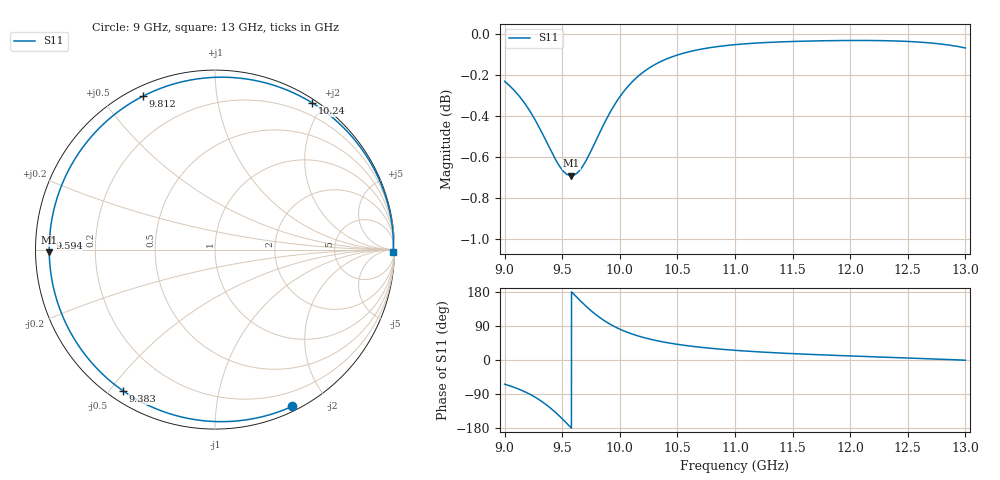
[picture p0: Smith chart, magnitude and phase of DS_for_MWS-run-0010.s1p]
! TOUCHSTONE file generated by CST DESIGN STUDIO
! Date and time: Tue Feb  4 14:23:10 2025
! Project name: C:\Work\MatlabApps\UnitCellOptimizationMatlab\CST\unitcell.cst
! Tree item: Tasks\Sweep1\SPara1\S-Parameters
! Header version: 2024
! Port assignment regex: !\s*Touchstone port\s*([0-9]+)\s*=\s*(CST MWS port|CST DES external port|CST DES block port)\s*(.+)\s* \(\"(.*)\"\)(\s*mode\s*([0-9]+))?.*
! Touchstone port assignment:
! Touchstone port 1 = CST DES external port 1 ("")
# GHz S MA R 50
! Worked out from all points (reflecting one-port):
!   4001 points, 9 GHz to 13 GHz, reference 50 ohm
!   lowest |S11| = -0.7 dB at 9.578 GHz (marker M1), VSWR 25.21, Z = 1.98 - j0.382 ohm
!   phase of S11 starts at -64 deg and turns -297 deg over the sweep
!   S11 on the Smith chart (normalised r, x): 9 GHz: 0.05, -1.61; 9.383 GHz: 0.04, -0.54; 9.594 GHz: 0.04, +0.04; 9.812 GHz: 0.04, +0.64; 10.24 GHz: 0.04, +1.86; 13 GHz: open
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9  0.9737 -63.8
9.048  0.971 -68.4
9.116  0.9665 -76.0
9.234  0.9562 -92.8
9.313  0.9474 -107.4
9.383  0.9389 -123.1
9.441  0.9322 -138.1
9.5  0.9267 -155.0
9.54  0.9244 -167.2
9.578  0.9237 -179.1
9.594  0.9238 175.9
9.648  0.9262 159.1
9.709  0.9317 141.2
9.76  0.9378 127.6
9.812  0.9444 115.1
9.853  0.9496 106.3
9.897  0.9549 97.8
10  0.9653 81.4
10.115  0.9739 67.7
10.243  0.9805 56.4
10.362  0.9848 48.5
10.5  0.9882 41.3
10.72  0.9916 33.0
11  0.9939 25.5
11.5  0.9957 16.8
12  0.9963 10.7
12.5  0.9957 5.5
13  0.9921 -0.7
